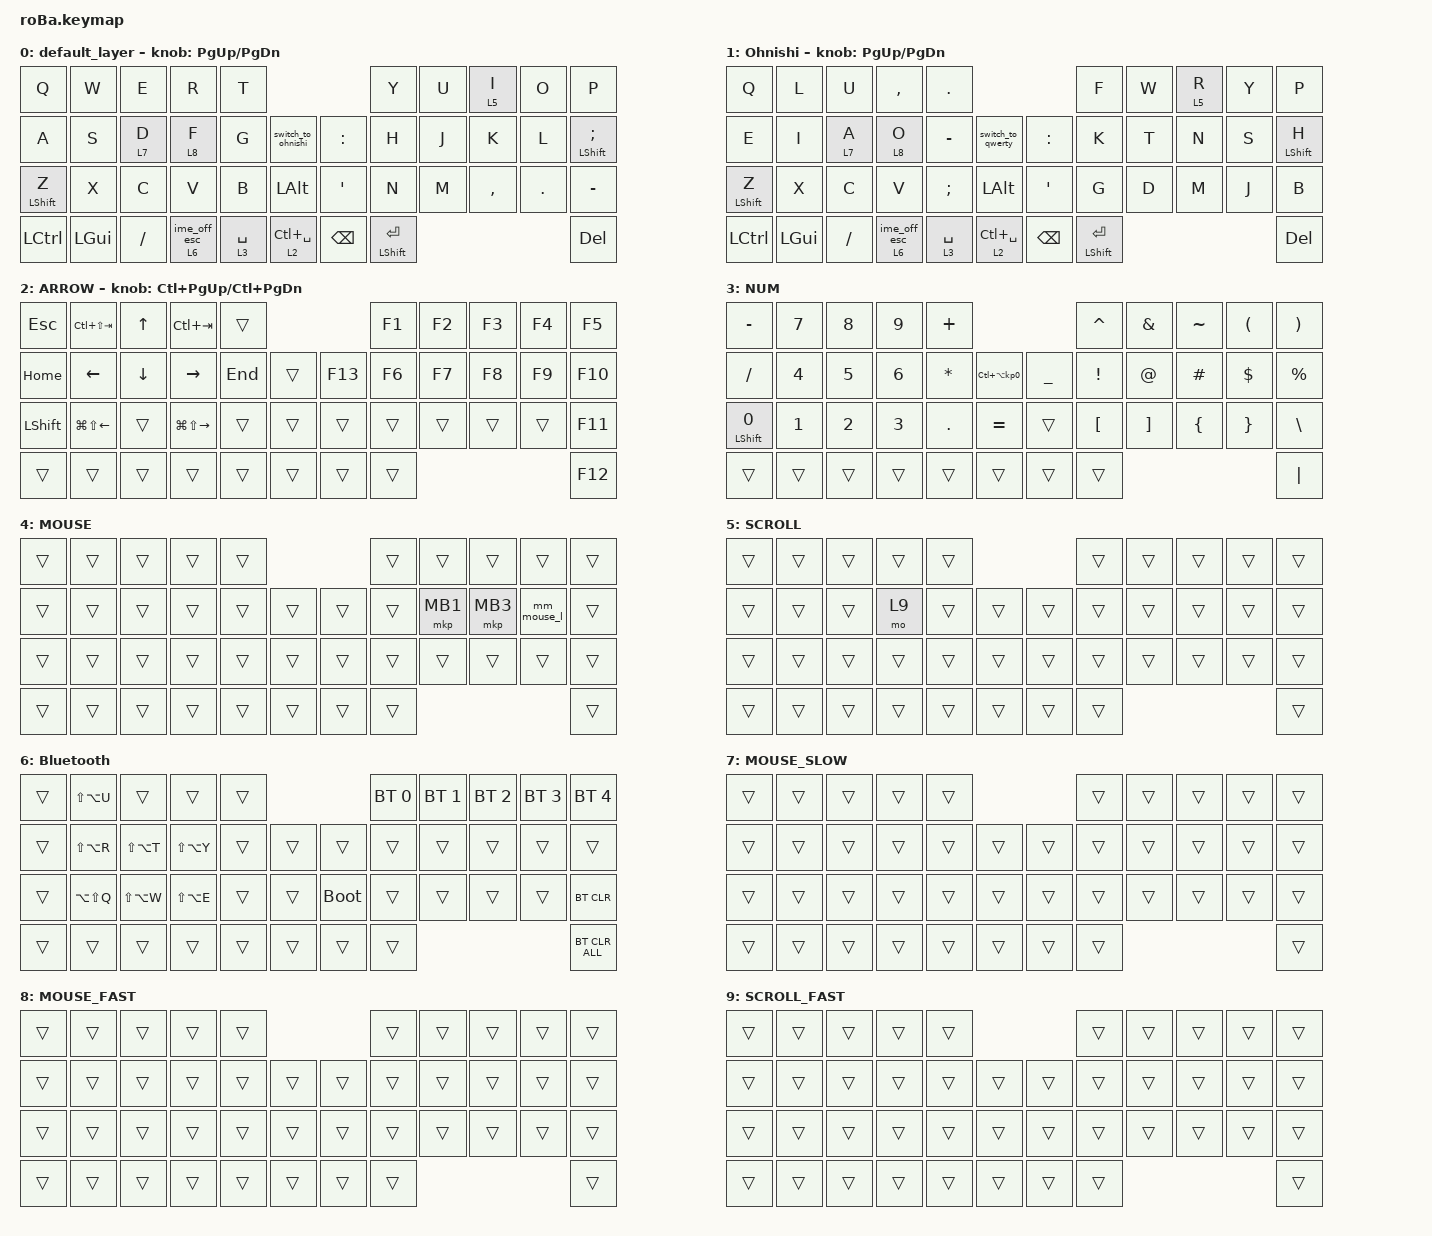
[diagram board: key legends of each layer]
#include <input/processors.dtsi>
#include <behaviors.dtsi>
#include <dt-bindings/zmk/bt.h>
#include <dt-bindings/zmk/keys.h>
#include <dt-bindings/zmk/pointing.h>

&zip_temp_layer { excluded-positions = <12 13 18 19 20 34>; };

&mt {
    flavor = "balanced";
    quick-tap-ms = <0>;
};

&trackball {
    scroll-layers = <5 9>;

    // arrows {
    //     layers = <3>;
    //     bindings =
    //         <&kp RIGHT_ARROW>,
    //         <&kp LEFT_ARROW>,
    //         <&kp UP_ARROW>,
    //         <&kp DOWN_ARROW>;
    //     tick = <10>;
    //     wait-ms = <5>;
    //     tap-ms = <5>;
    // };
};

/ {
    combos {
        compatible = "zmk,combos";

        tab {
            bindings = <&kp TAB>;
            key-positions = <11 12>;
        };

        shift_tab {
            bindings = <&kp LS(TAB)>;
            key-positions = <12 13>;
        };

        muhennkann {
            bindings = <&to_layer_0 INT_MUHENKAN>;
            key-positions = <11 10>;
        };

        double_quotation {
            bindings = <&kp DOUBLE_QUOTES>;
            key-positions = <20 21>;
        };

        eq {
            bindings = <&kp EQUAL>;
            key-positions = <24 25>;
        };
    };

    macros {
        to_layer_0: to_layer_0 {
            compatible = "zmk,behavior-macro-one-param";
            #binding-cells = <1>;
            bindings = <&to 0 &macro_param_1to1 &kp MACRO_PLACEHOLDER>;
            label = "TO_LAYER_0";
        };

        to_layer_0_ime_off_esc: to_layer_0_ime_off_esc {
            compatible = "zmk,behavior-macro-one-param";
            #binding-cells = <1>;
            bindings = <&to 0 &kp F13 &kp ESC>;
            label = "TO_LAYER_0_IME_OFF_ESC";
        };

        exit_mouse_l: exit_mouse_l {
            compatible = "zmk,behavior-macro";
            #binding-cells = <0>;
            bindings = <&to 0 &kp L>;
            label = "EXIT_MOUSE_L";
        };

        ime_off_esc: ime_off_esc {
            compatible = "zmk,behavior-macro";
            #binding-cells = <0>;
            bindings = <&kp F13 &kp ESC>;
            label = "IME_OFF_ESC";
        };

        switch_to_qwerty: switch_to_qwerty {
            compatible = "zmk,behavior-macro";
            #binding-cells = <0>;
            bindings = <&to 0 &kp F15>;
            label = "SWITCH_TO_QWERTY";
        };

        switch_to_ohnishi: switch_to_ohnishi {
            compatible = "zmk,behavior-macro";
            #binding-cells = <0>;
            bindings = <&to 1 &kp F14>;
            label = "SWITCH_TO_OHNISHI";
        };
    };

    behaviors {
        lt_to_layer_0: lt_to_layer_0 {
            compatible = "zmk,behavior-hold-tap";
            label = "LAYER_TAP_TO_0";
            bindings = <&mo>, <&to_layer_0>;

            #binding-cells = <2>;
            tapping-term-ms = <200>;
        };

        lt_to_layer_0_ime_off_esc: lt_to_layer_0_ime_off_esc {
            compatible = "zmk,behavior-hold-tap";
            label = "LAYER_TAP_TO_0_IME_OFF_ESC";
            bindings = <&mo>, <&to_layer_0_ime_off_esc>;

            #binding-cells = <2>;
            tapping-term-ms = <200>;
        };

        mm_mouse_l: mm_mouse_l {
            compatible = "zmk,behavior-mod-morph";
            label = "MM_MOUSE_L";
            #binding-cells = <0>;
            bindings = <&mkp MB2>, <&exit_mouse_l>;

            mods = <(MOD_LCTL|MOD_RCTL)>;
        };

        lt_mouse: lt_mouse {
            compatible = "zmk,behavior-hold-tap";
            label = "LAYER_TAP_MOUSE";
            bindings = <&mo>, <&kp>;

            #binding-cells = <2>;
            tapping-term-ms = <200>;
            flavor = "balanced";
            quick-tap-ms = <175>;
        };

        lt_ime_off_esc: lt_ime_off_esc {
            compatible = "zmk,behavior-hold-tap";
            label = "LAYER_TAP_IME_OFF_ESC";
            bindings = <&mo>, <&ime_off_esc>;

            #binding-cells = <2>;
            tapping-term-ms = <200>;
        };

        mt_shift_pref: mt_shift_pref {
            compatible = "zmk,behavior-hold-tap";
            label = "MT_SHIFT_PREF";
            bindings = <&kp>, <&kp>;

            #binding-cells = <2>;
            flavor = "hold-preferred";
            tapping-term-ms = <150>;
            quick-tap-ms = <0>;
        };
    };

    trackball_listener {
        compatible = "zmk,input-listener";
        device = <&trackball>;
        input-processors = <&zip_temp_layer 4 100000>;

        snipe {
            layers = <7>;
            input-processors =
                <&zip_temp_layer 4 100000>,
                <&zip_xy_scaler 1 5>,
                <&zip_scroll_scaler 1 5>;
        };

        scroll {
            layers = <8 9>;
            input-processors =
                <&zip_temp_layer 4 100000>,
                <&zip_xy_scaler 3 1>,
                <&zip_scroll_scaler 3 1>;
        };
    };

    keymap {
        compatible = "zmk,keymap";

        default_layer {
            bindings = <
&kp Q             &kp W         &kp E          &kp R                &kp T                                               &kp Y                 &kp U  &lt 5 I    &kp O    &kp P
&kp A             &kp S         &lt_mouse 7 D  &lt_mouse 8 F        &kp G        &switch_to_ohnishi      &kp COLON      &kp H                 &kp J  &kp K      &kp L    &mt LEFT_SHIFT SEMICOLON
&mt LEFT_SHIFT Z  &kp X         &kp C          &kp V                &kp B        &kp LEFT_ALT            &kp APOS       &kp N                 &kp M  &kp COMMA  &kp DOT  &kp MINUS
&kp LCTRL         &kp LEFT_GUI  &kp SLASH      &lt_ime_off_esc 6 0  &lt 3 SPACE  &lt 2 LC(SPACE)         &kp BACKSPACE  &mt LEFT_SHIFT ENTER                             &kp DEL
            >;

            sensor-bindings = <&inc_dec_kp PG_UP PAGE_DOWN>;
        };

        Ohnishi {
            bindings = <
&kp Q             &kp L         &kp U          &kp COMMA            &kp PERIOD                                           &kp F                 &kp W  &lt 5 R  &kp Y  &kp P
&kp E             &kp I         &lt_mouse 7 A  &lt_mouse 8 O        &kp MINUS      &switch_to_qwerty      &kp COLON      &kp K                 &kp T  &kp N    &kp S  &mt_shift_pref LEFT_SHIFT H
&mt_shift_pref LEFT_SHIFT Z  &kp X         &kp C          &kp V                &kp SEMICOLON  &kp LEFT_ALT           &kp APOS       &kp G                 &kp D  &kp M    &kp J  &kp B
&kp LCTRL         &kp LEFT_GUI  &kp SLASH      &lt_ime_off_esc 6 0  &lt 3 SPACE    &lt 2 LC(SPACE)        &kp BACKSPACE  &mt_shift_pref LEFT_SHIFT ENTER                         &kp DEL
            >;

            sensor-bindings = <&inc_dec_kp PG_UP PAGE_DOWN>;
        };

        ARROW {
            bindings = <
&kp ESCAPE      &kp LC(LS(TAB))         &kp UP_ARROW    &kp LC(TAB)              &trans                        &kp F1  &kp F2  &kp F3  &kp F4  &kp F5
&kp HOME        &kp LEFT_ARROW          &kp DOWN_ARROW  &kp RIGHT_ARROW          &kp END  &trans      &kp F13  &kp F6  &kp F7  &kp F8  &kp F9  &kp F10
&kp LEFT_SHIFT  &kp LG(LS(LEFT_ARROW))  &trans          &kp LG(LS(RIGHT_ARROW))  &trans   &trans      &trans   &trans  &trans  &trans  &trans  &kp F11
&trans          &trans                  &trans          &trans                   &trans   &trans      &trans   &trans                          &kp F12
            >;

            sensor-bindings = <&inc_dec_kp LC(PAGE_UP) LC(PAGE_DOWN)>;
        };

        NUM {
            bindings = <
&kp MINUS                &kp NUMBER_7  &kp NUMBER_8  &kp NUMBER_9  &kp PLUS                                                   &kp CARET         &kp AMPERSAND      &kp TILDE       &kp LEFT_PARENTHESIS  &kp RIGHT_PARENTHESIS
&kp SLASH                &kp NUMBER_4  &kp N5        &kp NUMBER_6  &kp ASTERISK  &kp LC(LA(KP_NUMBER_0))      &kp UNDERSCORE  &kp EXCLAMATION   &kp AT_SIGN        &kp HASH        &kp DOLLAR            &kp PERCENT
&mt LEFT_SHIFT NUMBER_0  &kp NUMBER_1  &kp NUMBER_2  &kp NUMBER_3  &kp PERIOD    &kp EQUAL                    &trans          &kp LEFT_BRACKET  &kp RIGHT_BRACKET  &kp LEFT_BRACE  &kp RIGHT_BRACE       &kp BACKSLASH
&trans                   &trans        &trans        &trans        &trans        &trans                       &trans          &trans                                                                     &kp PIPE
            >;
        };

        MOUSE {
            bindings = <
&trans  &trans  &trans  &trans  &trans                      &trans  &trans    &trans    &trans       &trans
&trans  &trans  &trans  &trans  &trans  &trans      &trans  &trans  &mkp MB1  &mkp MB3  &mm_mouse_l  &trans
&trans  &trans  &trans  &trans  &trans  &trans      &trans  &trans  &trans    &trans    &trans       &trans
&trans  &trans  &trans  &trans  &trans  &trans      &trans  &trans                                   &trans
            >;
        };

        SCROLL {
            bindings = <
&trans  &trans  &trans  &trans  &trans                      &trans  &trans  &trans  &trans  &trans
&trans  &trans  &trans  &mo 9   &trans  &trans      &trans  &trans  &trans  &trans  &trans  &trans
&trans  &trans  &trans  &trans  &trans  &trans      &trans  &trans  &trans  &trans  &trans  &trans
&trans  &trans  &trans  &trans  &trans  &trans      &trans  &trans                          &trans
            >;
        };

        Bluetooth {
            bindings = <
&trans  &kp LS(LA(U))  &trans         &trans         &trans                           &bt BT_SEL 0  &bt BT_SEL 1  &bt BT_SEL 2  &bt BT_SEL 3  &bt BT_SEL 4
&trans  &kp LS(LA(R))  &kp LS(LA(T))  &kp LS(LA(Y))  &trans  &trans      &trans       &trans        &trans        &trans        &trans        &trans
&trans  &kp LA(LS(Q))  &kp LS(LA(W))  &kp LS(LA(E))  &trans  &trans      &bootloader  &trans        &trans        &trans        &trans        &bt BT_CLR
&trans  &trans         &trans         &trans         &trans  &trans      &trans       &trans                                                  &bt BT_CLR_ALL
            >;
        };

        MOUSE_SLOW {
            bindings = <
&trans  &trans  &trans  &trans  &trans                      &trans  &trans  &trans  &trans  &trans
&trans  &trans  &trans  &trans  &trans  &trans      &trans  &trans  &trans  &trans  &trans  &trans
&trans  &trans  &trans  &trans  &trans  &trans      &trans  &trans  &trans  &trans  &trans  &trans
&trans  &trans  &trans  &trans  &trans  &trans      &trans  &trans                          &trans
            >;
        };

        MOUSE_FAST {
            bindings = <
&trans  &trans  &trans  &trans  &trans                      &trans  &trans  &trans  &trans  &trans
&trans  &trans  &trans  &trans  &trans  &trans      &trans  &trans  &trans  &trans  &trans  &trans
&trans  &trans  &trans  &trans  &trans  &trans      &trans  &trans  &trans  &trans  &trans  &trans
&trans  &trans  &trans  &trans  &trans  &trans      &trans  &trans                          &trans
            >;
        };

        SCROLL_FAST {
            bindings = <
&trans  &trans  &trans  &trans  &trans                      &trans  &trans  &trans  &trans  &trans
&trans  &trans  &trans  &trans  &trans  &trans      &trans  &trans  &trans  &trans  &trans  &trans
&trans  &trans  &trans  &trans  &trans  &trans      &trans  &trans  &trans  &trans  &trans  &trans
&trans  &trans  &trans  &trans  &trans  &trans      &trans  &trans                          &trans
            >;
        };
    };
};
